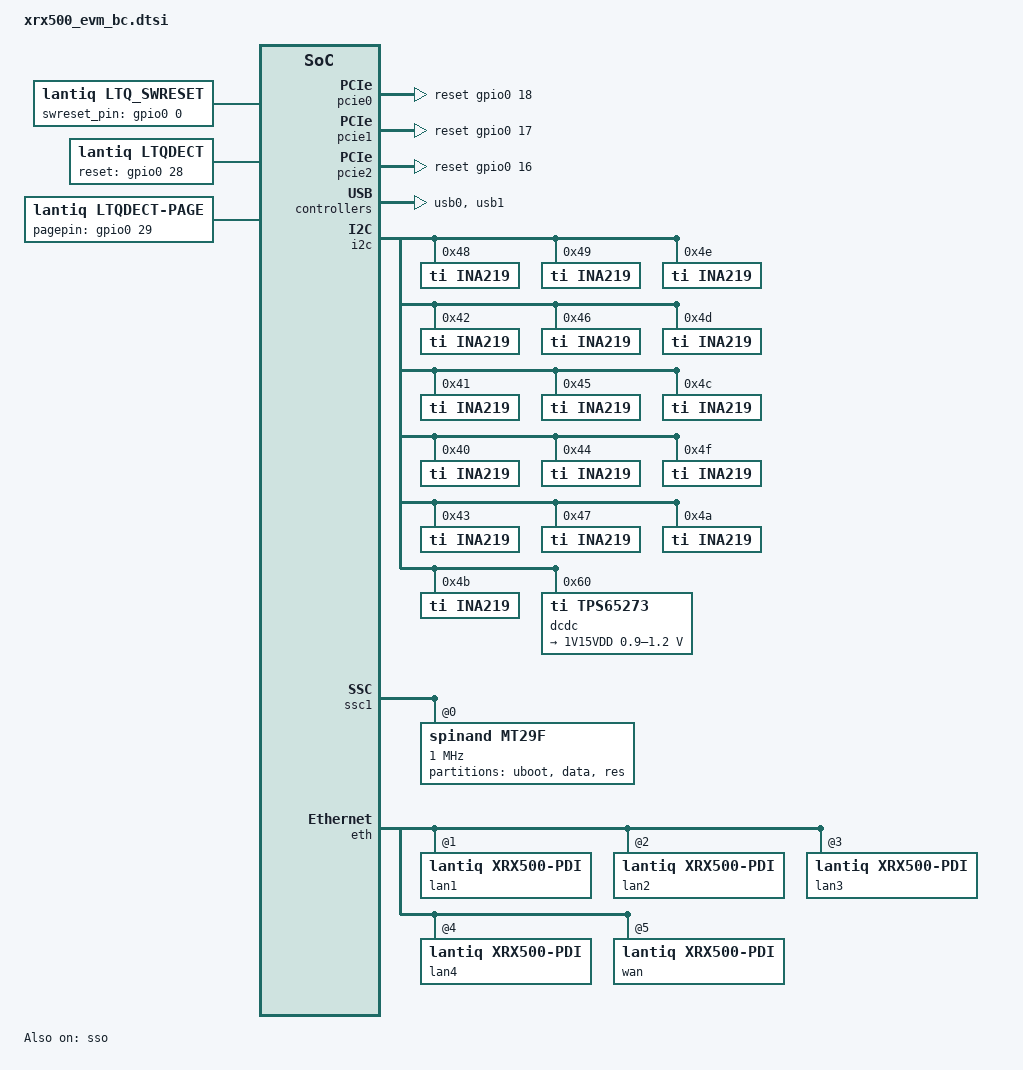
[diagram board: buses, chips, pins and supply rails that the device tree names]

/******************************************************************************
** Board configuration: xRX500 EVM Board 
******************************************************************************/
/ {

/******************************************************************************
** Board configuration: Enable buttons on the board.  
******************************************************************************/
	ltq_swreset {
	      compatible = "lantiq,ltq_swreset";
	      swreset_pin = <&gpio0 0 0>;
	      swreset_bit = <1>;
	      status = "ok";
	};
/*****************************************************************************/
};

/******************************************************************************
** Board configuration: Enable Nand flash pinctrl. 
******************************************************************************/
&pinctrl_nand {
    status = "ok";
}; 

/******************************************************************************
** Board configuration: Enable fxs SS.  
******************************************************************************/
&pinctrl_vcodec {
	status = "ok";
};
	
/******************************************************************************
** Board configuration: Enable spi1 SS.  
******************************************************************************/

&pinctrl_spi1 {  
	status = "ok";
};

/******************************************************************************
** Board configuration: Enable dect SS.
******************************************************************************/
/ {
dect {
	compatible = "lantiq,ltqdect";
	lantiq,dect-spi-int=<302>; /*271 GPIO base + GPIO 31 for cosic interrupt and driver Probe fn will look for string dect-spi-int */
	lantiq,dect-cs= <0>; /*DECT chip select port Number; This is used by SSC interface*/
	gpio-reset = <&gpio0 28 0>;
	status = "ok";
     };

dect-page {
	compatible = "lantiq,ltqdect-page";
	lantiq,pagebit= <1>; /*DECT Page Bit: Bit info meant for DECT*/
	lantiq,pagepin= <&gpio0 29 0>; 
	status = "ok";
      };
};

/******************************************************************************
** Board configuration: Enable spi0 configuration.
******************************************************************************/

&pinctrl_spi0 {
		status = "disabled";
};


/******************************************************************************
** Board configuration: Enable PCIe board configuration.
** PCIE sub-system feature configuration, the pcie0/1/2 are defined in Soc level  
******************************************************************************/
&pcie0 {
	status = "ok";
	lantiq,rst-high-active = <0>; /* 0 - low activ, 1 -- high active */
	lantiq,rst-interval = <200>; /* in mili-seconds, up to 500 ms*/
	lantiq,inbound-swap = <1>; /* 0 -- no swap, 1 -- swap */
	lantiq,outbound-swap = <0>; /* 0 -- no swap, 1 -- swap */
	lantiq,phy-mode = <0>; /* 0 -36Mhz, 1 - 36MHzSSC, 2 - 25Mhz, 3 - 25MHzSSC, 4 - 100MHz */
	reset-gpio = <&gpio0 18 0>; // default value , it can be updated on board. 
};

&pcie1 {
	status = "ok";
	lantiq,rst-high-active = <0>; /* 0 - low activ, 1 -- high active */
	lantiq,rst-interval = <200>; /* in mili-seconds, up to 500 ms*/
	lantiq,inbound-swap = <1>; /* 0 -- no swap, 1 -- swap */
	lantiq,outbound-swap = <0>; /* 0 -- no swap, 1 -- swap */
	lantiq,phy-mode = <0>; /* 0 -36Mhz, 1 - 36MHzSSC, 2 - 25Mhz, 3 - 25MHzSSC, 4 - 100MHz */
	reset-gpio = <&gpio0 17 0>;// default value , it can be updated on board. 
};

&pcie2 {
	status = "ok";
	lantiq,rst-high-active = <1>; /* 0 - low activ, 1 -- high active */
	lantiq,rst-interval = <200>; /* in mili-seconds, up to 500 ms*/
	lantiq,inbound-swap = <0>; /* 0 -- no swap, 1 -- swap */
	lantiq,outbound-swap = <0>; /* 0 -- no swap, 1 -- swap */
	lantiq,phy-mode = <0>; /* 0 -36Mhz, 1 - 36MHzSSC, 2 - 25Mhz, 3 - 25MHzSSC, 4 - 100MHz */
	reset-gpio = <&gpio0 16 0>;// default value , it can be updated on board. 
};

/******************************************************************************
** Board configuration: Enable USB board configuration.  
******************************************************************************/
&usb0{
	status = "ok";
	vbus-gpio = <&gpio0 7 0>;
};
&usb1{
	status = "ok";
	vbus-gpio = <&gpio0 2 0>;
};
/*****************************************************************************/

/******************************************************************************
** Board configuration: Enable Shift register LED board configuration.  
******************************************************************************/
&pinctrl_ledc {
			status="ok";
		};

&sso {
	status = "okay";
	lantiq,phy2 = <0x1>;
	lantiq,phy3 = <0x1>;
	lantiq,phy4 = <0x1>;
	lantiq,phy5 = <0x1>;
	lantiq,phy6 = <0x1>;
	lantiq,groups = <0xf>;
	/* lantiq,rising; */
	#address-cells = <1>;
	#size-cells = <0>;
	g6fled0 {
		label = "g6fled0";
		reg = <0x0>;
	};
	g2led0 {
		label = "g2led0";
		reg = <0x1>;
	};
	g3led0 {
		label = "g3led0";
		reg = <0x2>;
	};
	g4led0 {
		label = "g4led0";
		reg = <0x3>;
	};
	g5led0 {
		label = "g5led0";
		reg = <0x4>;
	};
	dect_led {
		label = "dect_led";
		reg = <0x5>;
	};
	wifi5g_led {
		label = "wifi5g_led";
		reg = <0x6>;
	};
	voip1_led {
		label = "voip1_led";
		reg = <0x7>;
	};
	voip0_led {
		label = "voip0_led";
		reg = <0x8>;
	};
	lte_led {
		label = "lte_led";
		reg = <0x9>;
	};
	wifi2g_led {
		label = "wifi2g_led";
		reg = <0xa>;
	};
	internet_led {
		label = "internet_led";
		reg = <0xb>;
	};
	broadband_led1 {
		label = "broadband_led1";
		reg = <0xc>;
	};
	broadband_led {
		label = "broadband_led";
		reg = <0xd>;
	};
	led14 {
		label = "led14";
		reg = <0xe>;
	};
	led15 {
		label = "led15";
		reg = <0xf>;
	};
	led16 {
		label = "led16";
		reg = <0x10>;
	};
	led17 {
		label = "led17";
		reg = <0x11>;
	};
	led18 {
		label = "led18";
		reg = <0x12>;
	};
	led19 {
		label = "led19";
		reg = <0x13>;
	};
	led20 {
		label = "led20";
		reg = <0x14>;
	};
	led21 {
		label = "led21";
		reg = <0x15>;
	};
	led22 {
		label = "led22";
		reg = <0x16>;
	};
	led23 {    
		label = "xrx500:blue:0";
		reg = <0x17>;
        };        
 	led24 {     
		label = "xrx500:green:0";
		reg = <0x18>; 
	};        
 	led25 { 
		label ="xrx500:red:0";
		reg = <0x19>;
	};
 	led26 {
		label = "xrx500:blue:1";
		reg = <0x1a>;
	};        
	led27 {
		label = "xrx500:green:1";
                reg = <0x1b>;
	};        
 	led28 {
		label ="xrx500:red:1";
		reg = <0x1c>;
	};
	led29 {
		label = "xrx500:blue:2";
		reg = <0x1d>;
        };
 	led30 {
		label = "xrx500:green:2";
		reg = <0x1e>; 
	};
	led31 {
		label ="xrx500:red:2";
		reg = <0x1f>;
	}; 
};

/******************************************************************************
** Board configuration: Enable Switch MDC/MDIO board setting.   
******************************************************************************/
&pinctrl_mdio {
			status="disable";
};
/******************************************************************************
** Board configuration: Enable CoC power managment board feature  
******************************************************************************/
&pinctrl_i2c {
			status="ok";
};

&i2c {
	status = "okay";

	ina219@48 {
		compatible = "ti,ina219";
		reg = <0x48>;
		shunt-resistor = <10000>;
		calibration-factor = <37000000>;
		rail-name = "           PWR_12V ";
	};

	ina219@49 {
		compatible = "ti,ina219";
		reg = <0x49>;
		shunt-resistor = <10000>;
		rail-name = "          PCIE_3V3 ";
	};

	ina219@4E {
		compatible = "ti,ina219";
		reg = <0x4E>;
		shunt-resistor = <10000>;
		rail-name = "Power_Module3_P3V3 ";
	};

	ina219@42 {
		compatible = "ti,ina219";
		reg = <0x42>;
		shunt-resistor = <10000>;
		rail-name = "Power_Module3_P5V0 ";
	};

	ina219@46 {
		compatible = "ti,ina219";
		reg = <0x46>;
		shunt-resistor = <10000>;
		rail-name = "Power_Module3_P2V5 ";
	};

	ina219@4D {
		compatible = "ti,ina219";
		reg = <0x4D>;
		shunt-resistor = <10000>;
		rail-name = "Power_Module2_A3V3 ";
	};

	ina219@41 {
		compatible = "ti,ina219";
		reg = <0x41>;
		shunt-resistor = <10000>;
		rail-name = "Power_Module2_1V5  ";
	};

	ina219@45 {
		compatible = "ti,ina219";
		reg = <0x45>;
		shunt-resistor = <10000>;
		rail-name = "Power_Module2_1V15 ";
	};

	ina219@4C {
		compatible = "ti,ina219";
		reg = <0x4C>;
		shunt-resistor = <10000>;
		rail-name = "Power_Module1_3V3  ";
	};

	ina219@40 {
		compatible = "ti,ina219";
		reg = <0x40>;
		shunt-resistor = <10000>;
		rail-name = "Power_Module1_1V1  ";
	};

	ina219@44 {
		compatible = "ti,ina219";
		reg = <0x44>;
		shunt-resistor = <10000>;
		rail-name = "Power_Module1_A1V15";
	};

	ina219@4F {
		compatible = "ti,ina219";
		reg = <0x4F>;
		shunt-resistor = <100000>;
		rail-name = "VRX518_IN_12V      ";
	};

	ina219@43 {
		compatible = "ti,ina219";
		reg = <0x43>;
		shunt-resistor = <47000>;
		rail-name = "VRX518_1V1         ";
	};

	ina219@47 {
		compatible = "ti,ina219";
		reg = <0x47>;
		shunt-resistor = <100000>;
		rail-name = "VRX518_1V5         ";
	};

	ina219@4A {
		compatible = "ti,ina219";
		reg = <0x4A>;
		shunt-resistor = <470000>;
		rail-name = "VRX518_3V3         ";
	};

	ina219@4B {
		compatible = "ti,ina219";
		reg = <0x4B>;
		shunt-resistor = <470000>;
		rail-name = "VRX518_LD_14V      ";
	};

	dcdc:tps65273@60 {
		compatible = "ti,tps65273";
		reg = <0x60>;

		regulators {
			dcdc2 {
				regulator-name = "1V15VDD";
				regulator-always-on;
				regulator-min-microvolt = <900000>;
				regulator-max-microvolt = <1200000>;
				vout-slew-rate = <0>; 
				vout-psm-mode  = <0>;
				vout-irdrop-offset  = <10000>;
			};
		};
	};
};

/******************************************************************************
** Board configuration: Enable SSC1 to support standard SPI devices (SPI Flash)  
******************************************************************************/
&ssc1 {
		status="ok";
		mt29f@0 {
				#address-cells = <1>;
				#size-cells = <1>;
				reg = <0 1>;
				compatible = "spinand,mt29f";
				linux,modalias = "mt29f";
				spi-max-frequency = <1000000>;

				partition@0 {
					label = "uboot";
					reg = <0x000000 0x100000>;
				};

				partition@100000 {
					label = "data";
					reg = <0x100000 0x1000000>;
				};	
				
				partition@1100000 {
					label = "res";
					reg = <0x1100000 0x6E00000>;
				};
			};
};

/******************************************************************************
** Board configuration: Configure LAN/WAN interfaces  
******************************************************************************/
&eth {
	status = "ok";

	lan1: interface@1 {
		compatible = "lantiq,xrx500-pdi";
		#address-cells = <1>;
		#size-cells = <0>;
		reg = <1>;

		ethernet@1 {
			compatible = "lantiq,xrx500-pdi-port";
			reg = <2>;
			interrupt-parent = <&gic>;
			interrupts = <120>;
			phy-mode = "rgmii";
			phy-handle = <&phy2>;
		};
	};

	lan2: interface@2 {
		compatible = "lantiq,xrx500-pdi";
		#address-cells = <1>;
		#size-cells = <0>;
		reg = <2>;

		ethernet@2 {
			compatible = "lantiq,xrx500-pdi-port";
			reg = <3>;
			interrupt-parent = <&gic>;
			interrupts = <121>;
			phy-mode = "rgmii";
			phy-handle = <&phy3>;
		};
	};

	lan3: interface@3 {
		compatible = "lantiq,xrx500-pdi";
		#address-cells = <1>;
		#size-cells = <0>;
		reg = <3>;

		ethernet@3 {
			compatible = "lantiq,xrx500-pdi-port";
			reg = <4>;
			interrupt-parent = <&gic>;
			interrupts = <134>;
			phy-mode = "rgmii";
			phy-handle = <&phy4>;
		};
	};

	lan4: interface@4 {
		compatible = "lantiq,xrx500-pdi";
		#address-cells = <1>;
		#size-cells = <0>;
		reg = <4>;

		ethernet@4 {
			compatible = "lantiq,xrx500-pdi-port";
			reg = <5>;
			interrupt-parent = <&gic>;
			interrupts = <135>;
			phy-mode = "rgmii";
			phy-handle = <&phy5>;
		};
	};

	wan: interface@5 {
		compatible = "lantiq,xrx500-pdi";
		#address-cells = <1>;
		#size-cells = <0>;
		reg = <5>;
		lantiq,wan;

		ethernet@5 {
			compatible = "lantiq,xrx500-pdi-port";
			reg = <1>;
			interrupt-parent = <&gic>;
			interrupts = <119>;
			phy-mode = "rgmii";
			phy-handle = <&phy1>;
		};
	};
};

